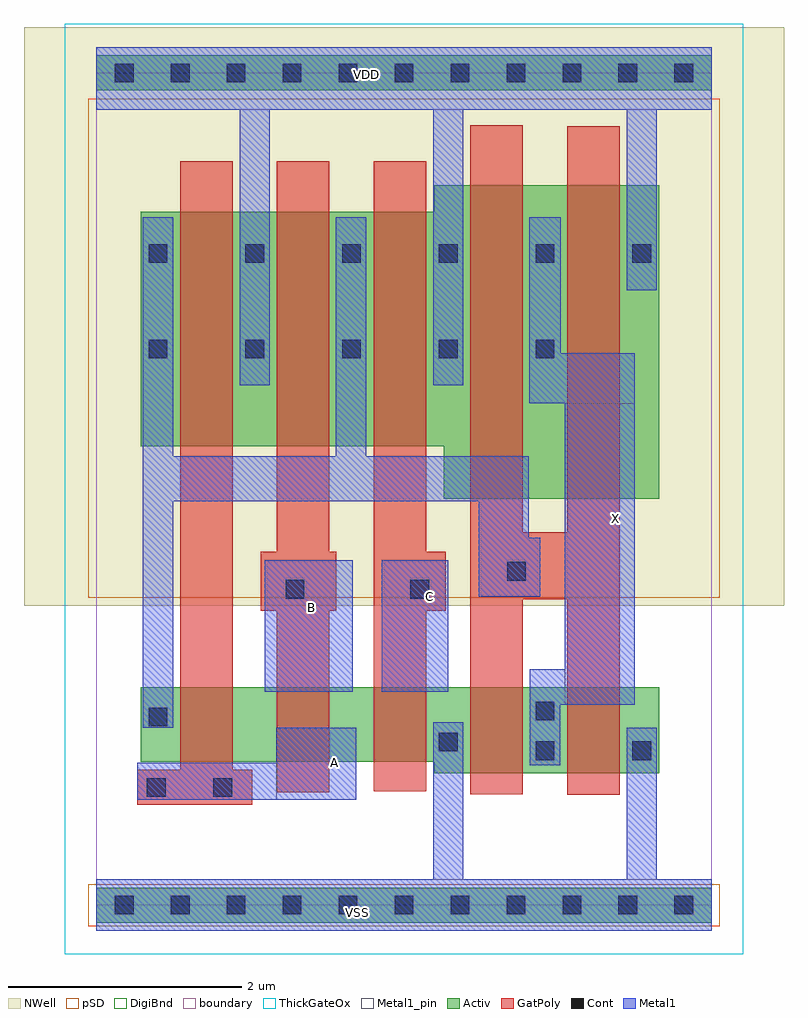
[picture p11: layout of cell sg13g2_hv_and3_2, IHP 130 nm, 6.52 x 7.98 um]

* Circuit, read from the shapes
.subckt sg13g2_hv_and3_2 A B C VDD VSS X
XM1 n1 A n2 VSS sg13_hv_nmos w=0.64u l=0.45u
XM2 n3 B n1 VSS sg13_hv_nmos w=0.64u l=0.45u
XM3 VSS C n3 VSS sg13_hv_nmos w=0.64u l=0.45u
XM4 X n2 VSS VSS sg13_hv_nmos w=0.74u l=0.45u m=2
XM5 VDD A n2 VDD sg13_hv_pmos w=2.015u l=0.45u
XM6 n2 B VDD VDD sg13_hv_pmos w=2.015u l=0.45u
XM7 VDD C n2 VDD sg13_hv_pmos w=2.015u l=0.45u
XM8 X n2 VDD VDD sg13_hv_pmos w=2.69u l=0.45u m=2
.ends

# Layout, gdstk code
import gdstk
lib = gdstk.Library(unit=1e-6, precision=1e-09)
def R(c, l, rs):  # rectangles x0, y0, x1, y1
    for r in rs: c.add(gdstk.rectangle(r[:2], r[2:], *l))
def A(c, l, x, y, w, h, nx, ny, dx, dy):  # array of equal rectangles
    R(c, l, [(x+i*dx, y+j*dy, x+i*dx+w, y+j*dy+h) for i in range(nx) for j in range(ny)])
def P(c, l, *ps):  # polygons
    for p in ps: c.add(gdstk.Polygon(p, *l))
Activ = (1, 0)
GatPoly = (5, 0)
Cont = (6, 0)
Metal1 = (8, 0)
Metal1_pin = (8, 2)
pSD = (14, 0)
DigiBnd = (16, 0)
NWell = (31, 0)
ThickGateOx = (44, 0)
boundary = (189, 4)

sg13g2_hv_and3_2 = lib.new_cell('sg13g2_hv_and3_2')
R(sg13g2_hv_and3_2, Activ, [(0,-0.15,5.28,0.15), (0,6.99,5.28,7.29)])
P(sg13g2_hv_and3_2, Activ, [(2.9,1.13),(2.9,1.23),(0.38,1.23),(0.38,1.87),(4.83,1.87),(4.83,1.13)],
  [(2.98,3.485),(2.98,3.935),(0.38,3.935),(0.38,5.95),(2.9,5.95),(2.9,6.175),(4.83,6.175),(4.83,3.485)])
P(sg13g2_hv_and3_2, GatPoly, [(4.04,0.945),(4.04,2.625),(3.66,2.625),(3.66,0.95),(3.21,0.95),(3.21,6.69),(3.66,6.69),(3.66,3.2),(4.04,3.2),(4.04,6.68),(4.49,6.68),(4.49,0.945)],
  [(0.35,0.86),(0.35,1.16),(0.72,1.16),(0.72,6.38),(1.17,6.38),(1.17,1.16),(1.34,1.16),(1.34,0.86)],
  [(1.55,0.97),(1.55,2.525),(1.41,2.525),(1.41,3.03),(1.55,3.03),(1.55,6.38),(2,6.38),(2,3.03),(2.06,3.03),(2.06,2.525),(2,2.525),(2,0.97)],
  [(2.38,0.975),(2.38,6.38),(2.83,6.38),(2.83,3.03),(3,3.03),(3,2.525),(2.83,2.525),(2.83,0.975)])
A(sg13g2_hv_and3_2, Cont, 0.16, -0.08, 0.16, 0.16, 11, 2, 0.48, 7.14)
A(sg13g2_hv_and3_2, Cont, 0.45, 4.69, 0.16, 0.16, 5, 1, 0.83, 0)
A(sg13g2_hv_and3_2, Cont, 0.45, 5.51, 0.16, 0.16, 6, 1, 0.83, 0)
R(sg13g2_hv_and3_2, Cont, [(0.435,0.93,0.595,1.09), (1.005,0.93,1.165,1.09), (3.77,1.245,3.93,1.405), (4.6,1.245,4.76,1.405), (2.94,1.32,3.1,1.48), (0.45,1.535,0.61,1.695), (3.77,1.585,3.93,1.745), (1.625,2.63,1.785,2.79), (2.695,2.63,2.855,2.79), (3.525,2.785,3.685,2.945)])
R(sg13g2_hv_and3_2, Metal1, [(1.445,1.83,2.2,2.96), (2.45,1.83,3.02,2.96)])
P(sg13g2_hv_and3_2, Metal1, [(0.4,1.52),(0.4,5.9),(0.66,5.9),(0.66,3.85),(2.055,3.85),(2.055,5.9),(2.315,5.9),(2.315,3.85),(3.71,3.85),(3.71,3.15),(3.81,3.15),(3.81,2.645),(3.28,2.645),(3.28,3.465),(0.66,3.465),(0.66,1.52)],
  [(0,-0.22),(0,0.22),(2.89,0.22),(2.89,1.57),(3.15,1.57),(3.15,0.22),(4.55,0.22),(4.55,1.52),(4.81,1.52),(4.81,0.22),(5.28,0.22),(5.28,-0.22)],
  [(1.23,4.46),(1.23,6.825),(0,6.825),(0,7.36),(5.28,7.36),(5.28,6.825),(4.81,6.825),(4.81,5.275),(4.55,5.275),(4.55,6.825),(3.15,6.825),(3.15,4.46),(2.89,4.46),(2.89,6.825),(1.49,6.825),(1.49,4.46)],
  [(3.72,1.2),(3.72,2.025),(4.02,2.025),(4.02,4.305),(3.715,4.305),(3.715,5.9),(3.985,5.9),(3.985,4.735),(4.62,4.735),(4.62,1.72),(3.98,1.72),(3.98,1.2)],
  [(0.35,0.905),(0.35,1.22),(1.545,1.22),(1.545,1.52),(2.23,1.52),(2.23,0.905)])
R(sg13g2_hv_and3_2, Metal1_pin, [(0,-0.22,5.28,0.22), (1.545,0.905,2.23,1.52), (4.02,1.72,4.62,4.305), (1.445,1.83,2.2,2.96), (2.45,1.83,3.02,2.96), (0,6.825,5.28,7.36)])
R(sg13g2_hv_and3_2, pSD, [(-0.07,-0.18,5.35,0.18), (-0.07,2.635,5.35,6.92)])
R(sg13g2_hv_and3_2, DigiBnd, [(0,0,5.28,7.14)])
R(sg13g2_hv_and3_2, NWell, [(-0.62,2.57,5.9,7.53)])
R(sg13g2_hv_and3_2, ThickGateOx, [(-0.27,-0.42,5.55,7.56)])
R(sg13g2_hv_and3_2, boundary, [(0,0,5.28,7.14)])
sg13g2_hv_and3_2.add(gdstk.Label('X', (4.455,3.32), layer=8, texttype=25))
sg13g2_hv_and3_2.add(gdstk.Label('B', (1.845,2.555), layer=8, texttype=25))
sg13g2_hv_and3_2.add(gdstk.Label('VDD', (2.32,7.13), layer=8, texttype=25))
sg13g2_hv_and3_2.add(gdstk.Label('VSS', (2.24,-0.065), layer=8, texttype=25))
sg13g2_hv_and3_2.add(gdstk.Label('C', (2.86,2.645), layer=8, texttype=25))
sg13g2_hv_and3_2.add(gdstk.Label('A', (2.045,1.22), layer=8, texttype=25))

lib.write_gds('sg13g2_hv_and3_2.gds')
